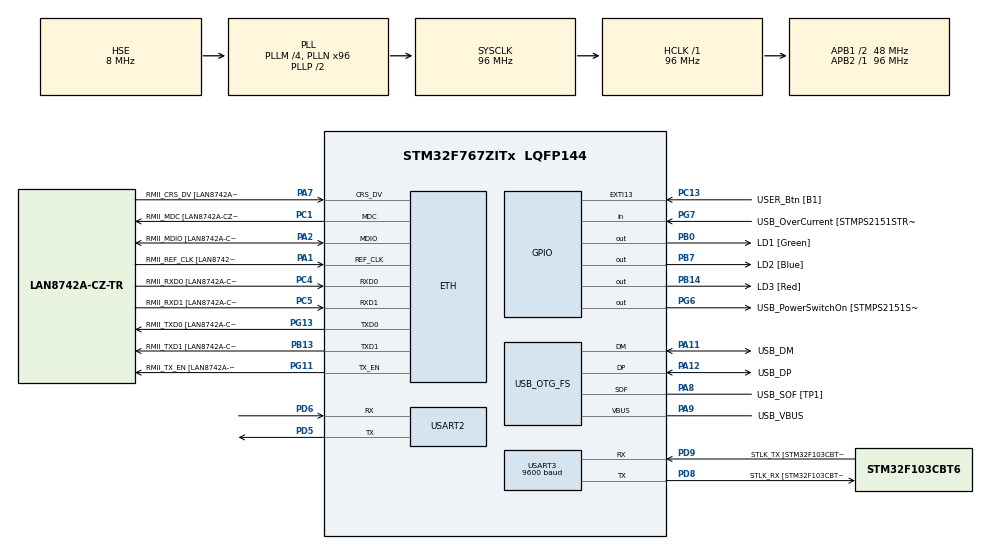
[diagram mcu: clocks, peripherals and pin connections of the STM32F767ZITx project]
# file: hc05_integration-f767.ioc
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ETH.MediaInterface=HAL_ETH_RMII_MODE
ETH.PHY_Name=LAN8742A_PHY_ADDRESS
ETH.PHY_Value=0
ETH.PhyAddress=0
Mcu.Family=STM32F7
Mcu.Name=STM32F767ZITx
Mcu.Package=LQFP144
NVIC.PriorityGroup=NVIC_PRIORITYGROUP_4
NVIC.USART2_IRQn=true\:0\:0\:false\:false\:true\:true\:true\:true
PA1.GPIO_Label=RMII_REF_CLK [LAN8742A-CZ-TR_REFCLK0]
PA1.Mode=RMII
PA1.Signal=ETH_REF_CLK
PA10.GPIO_Label=USB_ID
PA10.Signal=USB_OTG_FS_ID
PA11.GPIO_Label=USB_DM
PA11.Mode=Device_Only
PA11.Signal=USB_OTG_FS_DM
PA12.GPIO_Label=USB_DP
PA12.Mode=Device_Only
PA12.Signal=USB_OTG_FS_DP
PA13.GPIO_Label=TMS
PA13.Mode=Serial_Wire
PA13.Signal=SYS_JTMS-SWDIO
PA14.GPIO_Label=TCK
PA14.Mode=Serial_Wire
PA14.Signal=SYS_JTCK-SWCLK
PA2.GPIO_Label=RMII_MDIO [LAN8742A-CZ-TR_MDIO]
PA2.Mode=RMII
PA2.Signal=ETH_MDIO
PA7.GPIO_Label=RMII_CRS_DV [LAN8742A-CZ-TR_CRS_DV]
PA7.Mode=RMII
PA7.Signal=ETH_CRS_DV
PA8.GPIO_Label=USB_SOF [TP1]
PA8.Mode=Activate_SOF_FS
PA8.Signal=USB_OTG_FS_SOF
PA9.GPIO_Label=USB_VBUS
PA9.Mode=Activate_VBUS
PA9.Signal=USB_OTG_FS_VBUS
PB0.GPIO_Label=LD1 [Green]
PB0.Signal=GPIO_Output
PB13.GPIO_Label=RMII_TXD1 [LAN8742A-CZ-TR_TXD1]
PB13.Mode=RMII
PB13.Signal=ETH_TXD1
PB14.GPIO_Label=LD3 [Red]
PB14.Signal=GPIO_Output
PB3.GPIO_Label=SWO
PB3.Signal=SYS_JTDO-SWO
PB7.GPIO_Label=LD2 [Blue]
PB7.Signal=GPIO_Output
PC1.GPIO_Label=RMII_MDC [LAN8742A-CZ-TR_MDC]
PC1.Mode=RMII
PC1.Signal=ETH_MDC
PC13.GPIO_Label=USER_Btn [B1]
PC13.Signal=GPXTI13
PC14/OSC32_IN.Mode=LSE-External-Oscillator
PC14/OSC32_IN.Signal=RCC_OSC32_IN
PC15/OSC32_OUT.Mode=LSE-External-Oscillator
PC15/OSC32_OUT.Signal=RCC_OSC32_OUT
PC4.GPIO_Label=RMII_RXD0 [LAN8742A-CZ-TR_RXD0]
PC4.Mode=RMII
PC4.Signal=ETH_RXD0
PC5.GPIO_Label=RMII_RXD1 [LAN8742A-CZ-TR_RXD1]
PC5.Mode=RMII
PC5.Signal=ETH_RXD1
PD5.Mode=Asynchronous
PD5.Signal=USART2_TX
PD6.Mode=Asynchronous
PD6.Signal=USART2_RX
PD8.GPIO_Label=STLK_RX [STM32F103CBT6_PA3]
PD8.Mode=Asynchronous
PD8.Signal=USART3_TX
PD9.GPIO_Label=STLK_TX [STM32F103CBT6_PA2]
PD9.Mode=Asynchronous
PD9.Signal=USART3_RX
PG11.GPIO_Label=RMII_TX_EN [LAN8742A-CZ-TR_TXEN]
PG11.Mode=RMII
PG11.Signal=ETH_TX_EN
PG13.GPIO_Label=RMII_TXD0 [LAN8742A-CZ-TR_TXD0]
PG13.Mode=RMII
PG13.Signal=ETH_TXD0
PG6.GPIO_Label=USB_PowerSwitchOn [STMPS2151STR_EN]
PG6.Signal=GPIO_Output
PG7.GPIO_Label=USB_OverCurrent [STMPS2151STR_FAULT]
PG7.Signal=GPIO_Input
PH0/OSC_IN.GPIO_Label=MCO [STM32F103CBT6_PA8]
PH0/OSC_IN.Mode=HSE-External-Oscillator
PH0/OSC_IN.Signal=RCC_OSC_IN
PH1/OSC_OUT.Mode=HSE-External-Oscillator
PH1/OSC_OUT.Signal=RCC_OSC_OUT
ProjectManager.HeapSize=0x200
ProjectManager.StackSize=0x400
ProjectManager.TargetToolchain=STM32CubeIDE
RCC.48MHZClocksFreq_Value=24000000
RCC.AHBFreq_Value=96000000
RCC.APB1CLKDivider=RCC_HCLK_DIV2
RCC.APB1Freq_Value=48000000
RCC.APB1TimFreq_Value=96000000
RCC.APB2Freq_Value=96000000
RCC.APB2TimFreq_Value=96000000
RCC.CortexFreq_Value=96000000
RCC.HCLKFreq_Value=96000000
RCC.HSE_VALUE=8000000
RCC.HSI_VALUE=16000000
RCC.PLLM=4
RCC.PLLMUL=RCC_PLL_MUL9
RCC.PLLN=96
RCC.PLLQ=4
RCC.PRESCALERUSB=RCC_USBCLKSOURCE_PLL_DIV1_5
RCC.SYSCLKFreq_VALUE=96000000
RCC.SYSCLKSource=RCC_SYSCLKSOURCE_PLLCLK
RCC.SYSCLKSourceVirtual=RCC_SYSCLKSOURCE_PLLCLK
RCC.USBFreq_Value=48000000
RCC.VCOOutputFreq_Value=192000000
USART2.VirtualMode-Asynchronous=VM_ASYNC
USART3.BaudRate=9600
USART3.VirtualMode-Asynchronous=VM_ASYNC
USB_OTG_FS.VirtualMode=Device_Only
board=NUCLEO-F767ZI

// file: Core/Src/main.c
/* USER CODE BEGIN Header */
/**
  ******************************************************************************
  * @file           : main.c
  * @brief          : Main program body
  ******************************************************************************
  * @attention
  *
  * Copyright (c) 2023 STMicroelectronics.
  * All rights reserved.
  *
  * This software is licensed under terms that can be found in the LICENSE file
  * in the root directory of this software component.
  * If no LICENSE file comes with this software, it is provided AS-IS.
  *
  ******************************************************************************
  */
/* USER CODE END Header */
#include "main.h"
#include "string.h"

/* USER CODE BEGIN Includes */
#include <string.h>
#include <stdio.h>

/* USER CODE END Includes */

/* USER CODE BEGIN PD */
#define BUFFER_LEN  1

/* USER CODE END PD */

#if defined ( __ICCARM__ ) /*!< IAR Compiler */
#pragma location=0x2007c000
ETH_DMADescTypeDef  DMARxDscrTab[ETH_RX_DESC_CNT]; /* Ethernet Rx DMA Descriptors */
#pragma location=0x2007c0a0
ETH_DMADescTypeDef  DMATxDscrTab[ETH_TX_DESC_CNT]; /* Ethernet Tx DMA Descriptors */

#elif defined ( __CC_ARM )  /* MDK ARM Compiler */

__attribute__((at(0x2007c000))) ETH_DMADescTypeDef  DMARxDscrTab[ETH_RX_DESC_CNT]; /* Ethernet Rx DMA Descriptors */
__attribute__((at(0x2007c0a0))) ETH_DMADescTypeDef  DMATxDscrTab[ETH_TX_DESC_CNT]; /* Ethernet Tx DMA Descriptors */

#elif defined ( __GNUC__ ) /* GNU Compiler */
ETH_DMADescTypeDef DMARxDscrTab[ETH_RX_DESC_CNT] __attribute__((section(".RxDecripSection"))); /* Ethernet Rx DMA Descriptors */
ETH_DMADescTypeDef DMATxDscrTab[ETH_TX_DESC_CNT] __attribute__((section(".TxDecripSection")));   /* Ethernet Tx DMA Descriptors */

#endif

ETH_TxPacketConfig TxConfig;

ETH_HandleTypeDef heth;

UART_HandleTypeDef huart2;
UART_HandleTypeDef huart3;

PCD_HandleTypeDef hpcd_USB_OTG_FS;

/* USER CODE BEGIN PV */

char *demo_string = "HC-05 Bluetooth Module!\r\n"; //demo string
uint8_t recv_char;
uint8_t recv_str[20];
int i=0;
char *on = "on";
char *off = "off";

/* USER CODE END PV */

void SystemClock_Config(void);
static void MX_GPIO_Init(void);
static void MX_ETH_Init(void);
static void MX_USART3_UART_Init(void);
static void MX_USB_OTG_FS_PCD_Init(void);
static void MX_USART2_UART_Init(void);

int main(void)
{

  /* MCU Configuration--------------------------------------------------------*/

  /* Reset of all peripherals, Initializes the Flash interface and the Systick. */
  HAL_Init();

  /* Configure the system clock */
  SystemClock_Config();

  /* Initialize all configured peripherals */
  MX_GPIO_Init();
  MX_ETH_Init();
  MX_USART3_UART_Init();
  MX_USB_OTG_FS_PCD_Init();
  MX_USART2_UART_Init();

  /* Infinite loop */
  /* USER CODE BEGIN WHILE */
  HAL_UART_Transmit(&huart2, demo_string, strlen(demo_string), HAL_MAX_DELAY);
  HAL_UART_Receive_IT(&huart2, &recv_char, 1);
  while (1)
  {
    /* USER CODE END WHILE */

  }
}

void SystemClock_Config(void)
{
  RCC_OscInitTypeDef RCC_OscInitStruct = {0};
  RCC_ClkInitTypeDef RCC_ClkInitStruct = {0};

  /** Configure LSE Drive Capability
  */
  HAL_PWR_EnableBkUpAccess();

  /** Configure the main internal regulator output voltage
  */
  __HAL_RCC_PWR_CLK_ENABLE();
  __HAL_PWR_VOLTAGESCALING_CONFIG(PWR_REGULATOR_VOLTAGE_SCALE3);

  /** Initializes the RCC Oscillators according to the specified parameters
  * in the RCC_OscInitTypeDef structure.
  */
  RCC_OscInitStruct.OscillatorType = RCC_OSCILLATORTYPE_HSE;
  RCC_OscInitStruct.HSEState = RCC_HSE_ON;
  RCC_OscInitStruct.PLL.PLLState = RCC_PLL_ON;
  RCC_OscInitStruct.PLL.PLLSource = RCC_PLLSOURCE_HSE;
  RCC_OscInitStruct.PLL.PLLM = 4;
  RCC_OscInitStruct.PLL.PLLN = 96;
  RCC_OscInitStruct.PLL.PLLP = RCC_PLLP_DIV2;
  RCC_OscInitStruct.PLL.PLLQ = 4;
  RCC_OscInitStruct.PLL.PLLR = 2;
  if (HAL_RCC_OscConfig(&RCC_OscInitStruct) != HAL_OK)
  {
    Error_Handler();
  }

  /** Activate the Over-Drive mode
  */
  if (HAL_PWREx_EnableOverDrive() != HAL_OK)
  {
    Error_Handler();
  }

  /** Initializes the CPU, AHB and APB buses clocks
  */
  RCC_ClkInitStruct.ClockType = RCC_CLOCKTYPE_HCLK|RCC_CLOCKTYPE_SYSCLK
                              |RCC_CLOCKTYPE_PCLK1|RCC_CLOCKTYPE_PCLK2;
  RCC_ClkInitStruct.SYSCLKSource = RCC_SYSCLKSOURCE_PLLCLK;
  RCC_ClkInitStruct.AHBCLKDivider = RCC_SYSCLK_DIV1;
  RCC_ClkInitStruct.APB1CLKDivider = RCC_HCLK_DIV2;
  RCC_ClkInitStruct.APB2CLKDivider = RCC_HCLK_DIV1;

  if (HAL_RCC_ClockConfig(&RCC_ClkInitStruct, FLASH_LATENCY_3) != HAL_OK)
  {
    Error_Handler();
  }
}

static void MX_ETH_Init(void)
{

   static uint8_t MACAddr[6];

  heth.Instance = ETH;
  MACAddr[0] = 0x00;
  MACAddr[1] = 0x80;
  MACAddr[2] = 0xE1;
  MACAddr[3] = 0x00;
  MACAddr[4] = 0x00;
  MACAddr[5] = 0x00;
  heth.Init.MACAddr = &MACAddr[0];
  heth.Init.MediaInterface = HAL_ETH_RMII_MODE;
  heth.Init.TxDesc = DMATxDscrTab;
  heth.Init.RxDesc = DMARxDscrTab;
  heth.Init.RxBuffLen = 1524;

  if (HAL_ETH_Init(&heth) != HAL_OK)
  {
    Error_Handler();
  }

  memset(&TxConfig, 0 , sizeof(ETH_TxPacketConfig));
  TxConfig.Attributes = ETH_TX_PACKETS_FEATURES_CSUM | ETH_TX_PACKETS_FEATURES_CRCPAD;
  TxConfig.ChecksumCtrl = ETH_CHECKSUM_IPHDR_PAYLOAD_INSERT_PHDR_CALC;
  TxConfig.CRCPadCtrl = ETH_CRC_PAD_INSERT;

}

static void MX_USART2_UART_Init(void)
{

  huart2.Instance = USART2;
  huart2.Init.BaudRate = 9600;
  huart2.Init.WordLength = UART_WORDLENGTH_8B;
  huart2.Init.StopBits = UART_STOPBITS_1;
  huart2.Init.Parity = UART_PARITY_NONE;
  huart2.Init.Mode = UART_MODE_TX_RX;
  huart2.Init.HwFlowCtl = UART_HWCONTROL_NONE;
  huart2.Init.OverSampling = UART_OVERSAMPLING_16;
  huart2.Init.OneBitSampling = UART_ONE_BIT_SAMPLE_DISABLE;
  huart2.AdvancedInit.AdvFeatureInit = UART_ADVFEATURE_NO_INIT;
  if (HAL_UART_Init(&huart2) != HAL_OK)
  {
    Error_Handler();
  }

}

static void MX_USART3_UART_Init(void)
{

  huart3.Instance = USART3;
  huart3.Init.BaudRate = 9600;
  huart3.Init.WordLength = UART_WORDLENGTH_8B;
  huart3.Init.StopBits = UART_STOPBITS_1;
  huart3.Init.Parity = UART_PARITY_NONE;
  huart3.Init.Mode = UART_MODE_TX_RX;
  huart3.Init.HwFlowCtl = UART_HWCONTROL_NONE;
  huart3.Init.OverSampling = UART_OVERSAMPLING_16;
  huart3.Init.OneBitSampling = UART_ONE_BIT_SAMPLE_DISABLE;
  huart3.AdvancedInit.AdvFeatureInit = UART_ADVFEATURE_NO_INIT;
  if (HAL_UART_Init(&huart3) != HAL_OK)
  {
    Error_Handler();
  }

}

static void MX_USB_OTG_FS_PCD_Init(void)
{

  hpcd_USB_OTG_FS.Instance = USB_OTG_FS;
  hpcd_USB_OTG_FS.Init.dev_endpoints = 6;
  hpcd_USB_OTG_FS.Init.speed = PCD_SPEED_FULL;
  hpcd_USB_OTG_FS.Init.dma_enable = DISABLE;
  hpcd_USB_OTG_FS.Init.phy_itface = PCD_PHY_EMBEDDED;
  hpcd_USB_OTG_FS.Init.Sof_enable = ENABLE;
  hpcd_USB_OTG_FS.Init.low_power_enable = DISABLE;
  hpcd_USB_OTG_FS.Init.lpm_enable = DISABLE;
  hpcd_USB_OTG_FS.Init.vbus_sensing_enable = ENABLE;
  hpcd_USB_OTG_FS.Init.use_dedicated_ep1 = DISABLE;
  if (HAL_PCD_Init(&hpcd_USB_OTG_FS) != HAL_OK)
  {
    Error_Handler();
  }

}

static void MX_GPIO_Init(void)
{
  GPIO_InitTypeDef GPIO_InitStruct = {0};

  /* GPIO Ports Clock Enable */
  __HAL_RCC_GPIOC_CLK_ENABLE();
  __HAL_RCC_GPIOH_CLK_ENABLE();
  __HAL_RCC_GPIOA_CLK_ENABLE();
  __HAL_RCC_GPIOB_CLK_ENABLE();
  __HAL_RCC_GPIOD_CLK_ENABLE();
  __HAL_RCC_GPIOG_CLK_ENABLE();

  /*Configure GPIO pin Output Level */
  HAL_GPIO_WritePin(GPIOB, LD1_Pin|LD3_Pin|LD2_Pin, GPIO_PIN_RESET);

  /*Configure GPIO pin Output Level */
  HAL_GPIO_WritePin(USB_PowerSwitchOn_GPIO_Port, USB_PowerSwitchOn_Pin, GPIO_PIN_RESET);

  /*Configure GPIO pin : USER_Btn_Pin */
  GPIO_InitStruct.Pin = USER_Btn_Pin;
  GPIO_InitStruct.Mode = GPIO_MODE_IT_RISING;
  GPIO_InitStruct.Pull = GPIO_NOPULL;
  HAL_GPIO_Init(USER_Btn_GPIO_Port, &GPIO_InitStruct);

  /*Configure GPIO pins : LD1_Pin LD3_Pin LD2_Pin */
  GPIO_InitStruct.Pin = LD1_Pin|LD3_Pin|LD2_Pin;
  GPIO_InitStruct.Mode = GPIO_MODE_OUTPUT_PP;
  GPIO_InitStruct.Pull = GPIO_NOPULL;
  GPIO_InitStruct.Speed = GPIO_SPEED_FREQ_LOW;
  HAL_GPIO_Init(GPIOB, &GPIO_InitStruct);

  /*Configure GPIO pin : USB_PowerSwitchOn_Pin */
  GPIO_InitStruct.Pin = USB_PowerSwitchOn_Pin;
  GPIO_InitStruct.Mode = GPIO_MODE_OUTPUT_PP;
  GPIO_InitStruct.Pull = GPIO_NOPULL;
  GPIO_InitStruct.Speed = GPIO_SPEED_FREQ_LOW;
  HAL_GPIO_Init(USB_PowerSwitchOn_GPIO_Port, &GPIO_InitStruct);

  /*Configure GPIO pin : USB_OverCurrent_Pin */
  GPIO_InitStruct.Pin = USB_OverCurrent_Pin;
  GPIO_InitStruct.Mode = GPIO_MODE_INPUT;
  GPIO_InitStruct.Pull = GPIO_NOPULL;
  HAL_GPIO_Init(USB_OverCurrent_GPIO_Port, &GPIO_InitStruct);

}

/* USER CODE BEGIN 4 */

void HAL_UART_RxCpltCallback(UART_HandleTypeDef *huart)
{
    if (huart->Instance == USART2)
    {
        if (recv_char == '\r')
        {

            HAL_UART_Transmit(&huart3, recv_str, i, HAL_MAX_DELAY);
            HAL_UART_Transmit(&huart3, "\r\n", 2, HAL_MAX_DELAY);

            if (!strcmp((char *)recv_str, on))
            {
                HAL_GPIO_WritePin(GPIOB, GPIO_PIN_7, SET);
                HAL_UART_Transmit(&huart2, "LED is ON.\r\n", 12, HAL_MAX_DELAY);
            }
            if (!strcmp((char *)recv_str, off))
            {
                HAL_GPIO_WritePin(GPIOB, GPIO_PIN_7, RESET);
                HAL_UART_Transmit(&huart2, "LED is OFF.\r\n", 13, HAL_MAX_DELAY);
            }

            memset(recv_str, 0, i);
            i = 0;
        }
        else
        {
            if (recv_char == '\r' || recv_char == '\n')
            {
            }
            else
            {
                recv_str[i++] = recv_char;
            }
        }
        HAL_UART_Receive_IT(&huart2, &recv_char, 1);
    }
}

/* USER CODE END 4 */

void Error_Handler(void)
{
  __disable_irq();
  while (1)
  {
  }
}
